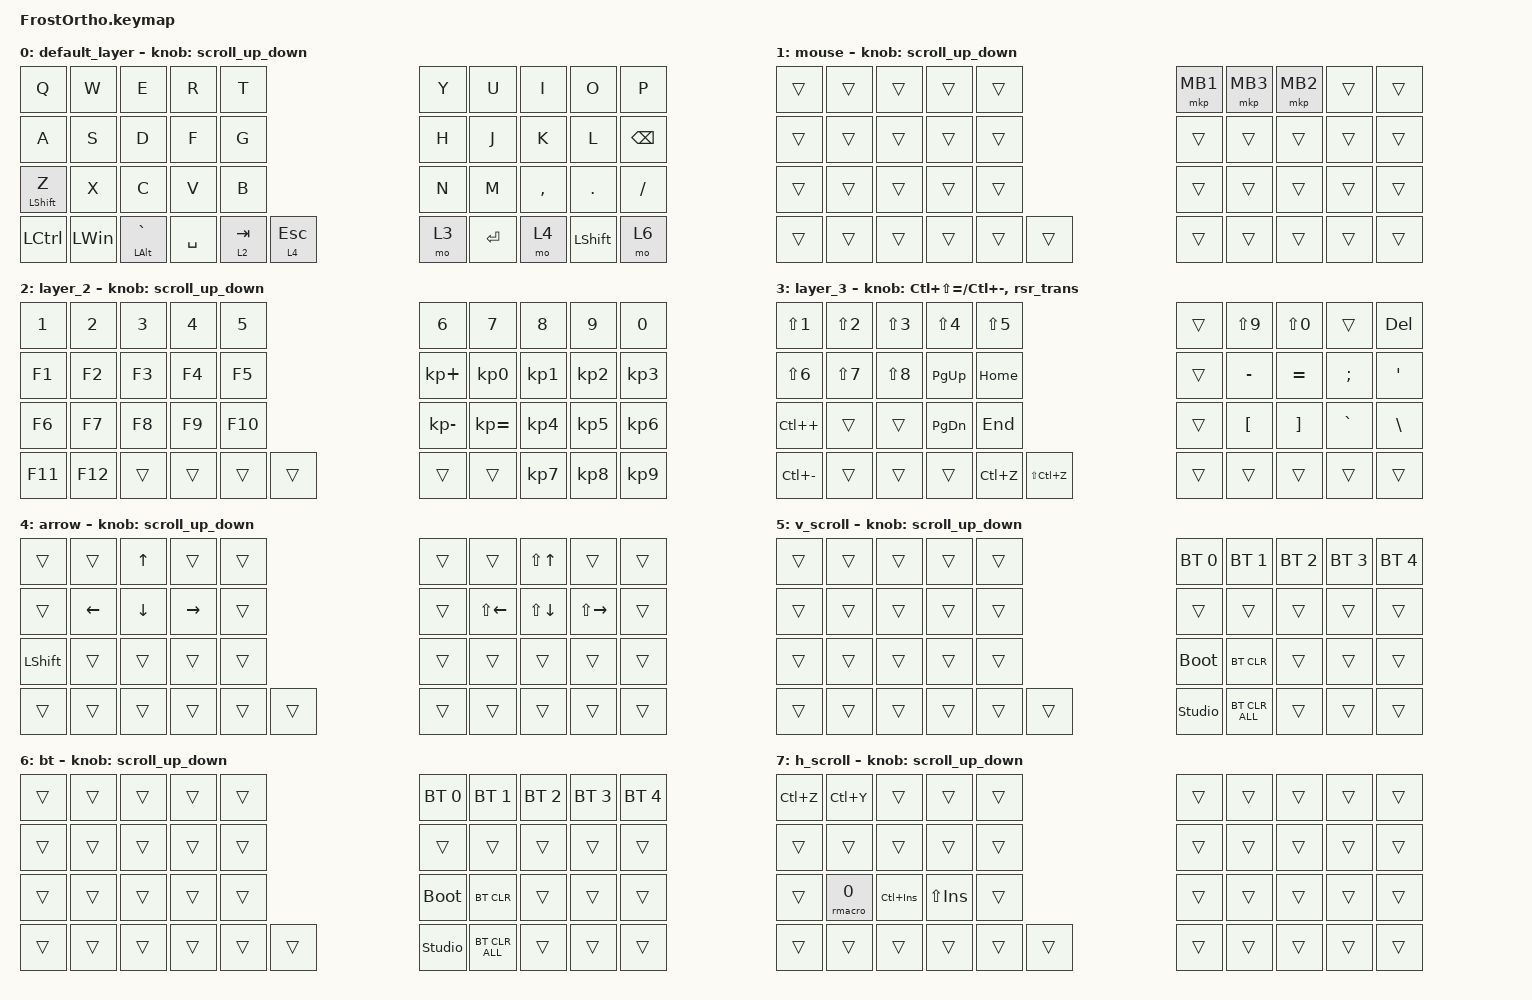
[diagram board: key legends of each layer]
#include <input/processors.dtsi>
#include <behaviors/runtime_macro.dtsi>
#include <behaviors/runtime-sensor-rotate.dtsi>
#include <dt-bindings/zmk/mouse.h>
#include <behaviors.dtsi>
#include <dt-bindings/zmk/bt.h>
#include <dt-bindings/zmk/keys.h>
#include <dt-bindings/zmk/pointing.h>

#define ZMK_MOUSE_DEFAULT_SCRL_VAL 100
#define ZMK_POINTING_DEFAULT_SCRL_VAL 100
#define MOUSE 1

&mt {
    flavor = "balanced";
    quick-tap-ms = <0>;
};

// AML クリックしたときにタイムアウトを延長

&mkp_input_listener { input-processors = <&zip_temp_layer 1 10000>; };

/ {
    runtime_combo_defaults {
        compatible = "cormoran,runtime-combo-defaults";

        Delete {
            slot = <0>;
            bindings = <&kp DELETE>;
            key-positions = <8 9>;
            display-name = "Delete";
        };

        v_scr2 {
            slot = <1>;
            bindings = <&mo 5>;
            key-positions = <7 6>;
            display-name = "v_scr2";
        };

        EN {
            slot = <2>;
            bindings = <&kp LANG2>;
            key-positions = <5 6>;
            display-name = "EN";
        };

        JP {
            slot = <3>;
            bindings = <&kp LANG1>;
            key-positions = <15 16>;
            display-name = "JP";
        };

        Esc {
            slot = <4>;
            bindings = <&kp ESCAPE>;
            key-positions = <0 10>;
            display-name = "Esc";
        };

        v_scr {
            slot = <5>;
            bindings = <&mo 5>;
            key-positions = <12 13>;
            display-name = "v_scr";
        };

        h_scr {
            slot = <6>;
            bindings = <&mo 7>;
            key-positions = <12 11>;
            display-name = "h_scr";
        };

        Zoom {
            slot = <7>;
            bindings = <&kp LEFT_ALT>;
            key-positions = <25 36>;
            display-name = "Zoom";
        };

        WindowsTab {
            slot = <8>;
            bindings = <&kp LG(TAB)>;
            key-positions = <3 4>;
            display-name = "WindowsTab";
        };
    };

    runtime_macro_defaults {
        screenshot_default {
            compatible = "cormoran,runtime-macro-default";
            macro-name = "Screenshot";
            bindings =
                <&to 7>,
                <&macro_press>,
                <&kp LEFT_WIN &kp LEFT_SHIFT &kp S>,
                <&macro_release>,
                <&kp LEFT_WIN &kp LEFT_SHIFT &kp S>;
        };
    };

    macros {
        to_layer_0: to_layer_0 {
            compatible = "zmk,behavior-macro-one-param";
            #binding-cells = <1>;
            bindings = <&to 0 &macro_param_1to1 &kp MACRO_PLACEHOLDER>;
            label = "TO_LAYER_0";
        };

    };

    behaviors {
        lt_to_layer_0: lt_to_layer_0 {
            compatible = "zmk,behavior-hold-tap";
            label = "LAYER_TAP_TO_0";
            bindings = <&mo>, <&to_layer_0>;

            #binding-cells = <2>;
            tapping-term-ms = <300>;
        };

        // Kyemap Editor用

        scroll_up_down: behavior_sensor_rotate_mouse_wheel_up_down {
            compatible = "zmk,behavior-sensor-rotate";
            #sensor-binding-cells = <0>;
            bindings = <&msc SCRL_UP>, <&msc SCRL_DOWN>;

            // 追加: スクロールのタップ時間を設定 (20ms)

            tap-ms = <20>;
        };

        vol_up_down: vol_up_down {
            compatible = "zmk,behavior-sensor-rotate";
            #sensor-binding-cells = <0>;
            tap-ms = <5>;
            bindings = <&kp C_VOL_DN>, <&kp C_VOL_UP>;
        };

        // DYA Studio用

        rsr_vol: rsr_vol {
            compatible = "zmk,behavior-runtime-sensor-rotate";
            #sensor-binding-cells = <0>;
            tap-ms = <5>;
            cw-binding = <&kp C_VOL_DN>;
            ccw-binding = <&kp C_VOL_UP>;
        };
    };

    keymap {
        compatible = "zmk,keymap";

        default_layer {
            bindings = <
&kp Q             &kp W         &kp E               &kp R      &kp T                 &kp Y  &kp U      &kp I      &kp O           &kp P
&kp A             &kp S         &kp D               &kp F      &kp G                 &kp H  &kp J      &kp K      &kp L           &kp BACKSPACE
&mt LEFT_SHIFT Z  &kp X         &kp C               &kp V      &kp B                 &kp N  &kp M      &kp COMMA  &kp PERIOD      &kp SLASH
&kp LEFT_CONTROL  &kp LEFT_WIN  &mt LEFT_ALT GRAVE  &kp SPACE  &lt 2 TAB  &lt 4 ESCAPE      &mo 3  &kp ENTER  &mo 4      &kp LEFT_SHIFT  &mo 6
            >;

            sensor-bindings = <&scroll_up_down>;
        };

        mouse {
            bindings = <
&trans  &trans  &trans  &trans  &trans              &mkp MB1  &mkp MB3  &mkp MB2  &trans  &trans
&trans  &trans  &trans  &trans  &trans              &trans    &trans    &trans    &trans  &trans
&trans  &trans  &trans  &trans  &trans              &trans    &trans    &trans    &trans  &trans
&trans  &trans  &trans  &trans  &trans  &trans      &trans    &trans    &trans    &trans  &trans
            >;

            sensor-bindings = <&scroll_up_down>;
        };

        layer_2 {
            bindings = <
&kp NUMBER_1  &kp NUMBER_2  &kp NUMBER_3  &kp NUMBER_4  &kp N5               &kp NUMBER_6  &kp N7           &kp N8           &kp N9           &kp N0
&kp F1        &kp F2        &kp F3        &kp F4        &kp F5               &kp KP_PLUS   &kp KP_NUMBER_0  &kp KP_NUMBER_1  &kp KP_NUMBER_2  &kp KP_NUMBER_3
&kp F6        &kp F7        &kp F8        &kp F9        &kp F10              &kp KP_MINUS  &kp KP_EQUAL     &kp KP_NUMBER_4  &kp KP_NUMBER_5  &kp KP_NUMBER_6
&kp F11       &kp F12       &trans        &trans        &trans   &trans      &trans        &trans           &kp KP_NUMBER_7  &kp KP_NUMBER_8  &kp KP_NUMBER_9
            >;

            sensor-bindings = <&scroll_up_down>;
        };

        layer_3 {
            bindings = <
&kp LS(NUMBER_1)  &kp LS(NUMBER_2)  &kp LS(NUMBER_3)  &kp LS(NUMBER_4)  &kp LS(NUMBER_5)                     &trans  &kp LS(N9)        &kp LS(N0)         &trans         &kp DEL
&kp LS(NUMBER_6)  &kp LS(NUMBER_7)  &kp LS(NUMBER_8)  &kp PAGE_UP       &kp HOME                             &trans  &kp MINUS         &kp EQUAL          &kp SEMICOLON  &kp SQT
&kp LC(PLUS)      &trans            &trans            &kp PAGE_DOWN     &kp END                              &trans  &kp LEFT_BRACKET  &kp RIGHT_BRACKET  &kp GRAVE      &kp BACKSLASH
&kp LC(MINUS)     &trans            &trans            &trans            &kp LC(Z)         &kp LS(LC(Z))      &trans  &trans            &trans             &trans         &trans
            >;

            sensor-bindings =
                <&inc_dec_kp LC(LS(EQUAL)) LC(MINUS)>,
                <&rsr_trans>;
        };

        arrow {
            bindings = <
&trans          &trans          &kp UP_ARROW    &trans           &trans              &trans  &trans              &kp LS(UP_ARROW)    &trans               &trans
&trans          &kp LEFT_ARROW  &kp DOWN_ARROW  &kp RIGHT_ARROW  &trans              &trans  &kp LS(LEFT_ARROW)  &kp LS(DOWN_ARROW)  &kp LS(RIGHT_ARROW)  &trans
&kp LEFT_SHIFT  &trans          &trans          &trans           &trans              &trans  &trans              &trans              &trans               &trans
&trans          &trans          &trans          &trans           &trans  &trans      &trans  &trans              &trans              &trans               &trans
            >;

            sensor-bindings = <&scroll_up_down>;
        };

        v_scroll {
            bindings = <
&trans  &trans  &trans  &trans  &trans              &bt BT_SEL 0    &bt BT_SEL 1    &bt BT_SEL 2  &bt BT_SEL 3  &bt BT_SEL 4
&trans  &trans  &trans  &trans  &trans              &trans          &trans          &trans        &trans        &trans
&trans  &trans  &trans  &trans  &trans              &bootloader     &bt BT_CLR      &trans        &trans        &trans
&trans  &trans  &trans  &trans  &trans  &trans      &studio_unlock  &bt BT_CLR_ALL  &trans        &trans        &trans
            >;

            sensor-bindings = <&scroll_up_down>;
        };

        bt {
            bindings = <
&trans  &trans  &trans  &trans  &trans              &bt BT_SEL 0    &bt BT_SEL 1    &bt BT_SEL 2  &bt BT_SEL 3  &bt BT_SEL 4
&trans  &trans  &trans  &trans  &trans              &trans          &trans          &trans        &trans        &trans
&trans  &trans  &trans  &trans  &trans              &bootloader     &bt BT_CLR      &trans        &trans        &trans
&trans  &trans  &trans  &trans  &trans  &trans      &studio_unlock  &bt BT_CLR_ALL  &trans        &trans        &trans
            >;

            sensor-bindings = <&scroll_up_down>;
        };

        h_scroll {
            bindings = <
&kp LC(Z)  &kp LC(Y)    &trans       &trans       &trans              &trans  &trans  &trans  &trans  &trans
&trans     &trans       &trans       &trans       &trans              &trans  &trans  &trans  &trans  &trans
&trans     &rmacro 0    &kp LC(INS)  &kp LS(INS)  &trans              &trans  &trans  &trans  &trans  &trans
&trans     &trans       &trans       &trans       &trans  &trans      &trans  &trans  &trans  &trans  &trans
            >;

            sensor-bindings = <&scroll_up_down>;
        };
    };
};
